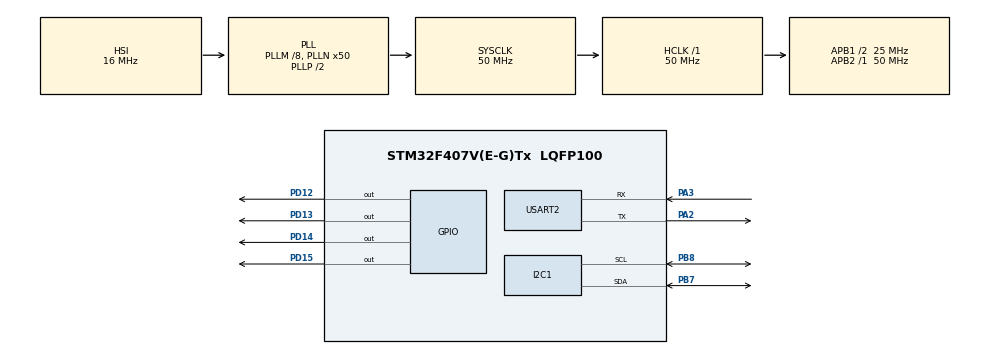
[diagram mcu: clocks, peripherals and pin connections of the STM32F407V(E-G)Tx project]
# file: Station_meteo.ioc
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I2C1.I2C_Mode=I2C_Standard
Mcu.Family=STM32F4
Mcu.Name=STM32F407V(E-G)Tx
Mcu.Package=LQFP100
NVIC.I2C1_ER_IRQn=true\:0\:0\:false\:false\:true\:true\:true
NVIC.I2C1_EV_IRQn=true\:0\:0\:false\:false\:true\:true\:true
NVIC.PriorityGroup=NVIC_PRIORITYGROUP_4
NVIC.TIM3_IRQn=true\:0\:0\:false\:false\:true\:true\:true
PA2.Mode=Asynchronous
PA2.Signal=USART2_TX
PA3.Mode=Asynchronous
PA3.Signal=USART2_RX
PB7.Mode=I2C
PB7.Signal=I2C1_SDA
PB8.Mode=I2C
PB8.Signal=I2C1_SCL
PC14-OSC32_IN.Mode=LSE-External-Oscillator
PC14-OSC32_IN.Signal=RCC_OSC32_IN
PC15-OSC32_OUT.Mode=LSE-External-Oscillator
PC15-OSC32_OUT.Signal=RCC_OSC32_OUT
PD12.Signal=GPIO_Output
PD13.Signal=GPIO_Output
PD14.Signal=GPIO_Output
PD15.Signal=GPIO_Output
PH0-OSC_IN.Mode=HSE-External-Oscillator
PH0-OSC_IN.Signal=RCC_OSC_IN
PH1-OSC_OUT.Mode=HSE-External-Oscillator
PH1-OSC_OUT.Signal=RCC_OSC_OUT
ProjectManager.HeapSize=0x200
ProjectManager.StackSize=0x400
ProjectManager.TargetToolchain=MDK-ARM V5
RCC.48MHZClocksFreq_Value=25000000
RCC.AHBFreq_Value=50000000
RCC.APB1CLKDivider=RCC_HCLK_DIV2
RCC.APB1Freq_Value=25000000
RCC.APB1TimFreq_Value=50000000
RCC.APB2Freq_Value=50000000
RCC.APB2TimFreq_Value=50000000
RCC.CortexFreq_Value=50000000
RCC.HCLKFreq_Value=50000000
RCC.HSE_VALUE=25000000
RCC.HSI_VALUE=16000000
RCC.PLLM=8
RCC.PLLN=50
RCC.SYSCLKFreq_VALUE=50000000
RCC.SYSCLKSource=RCC_SYSCLKSOURCE_PLLCLK
RCC.VCOOutputFreq_Value=100000000
TIM3.Period=64000
TIM3.Prescaler=390
USART2.VirtualMode=VM_ASYNC
VP_TIM3_VS_ClockSourceINT.Mode=Internal
board=custom

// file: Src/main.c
/* USER CODE BEGIN Header */
/**
  ******************************************************************************
  * @file           : main.c
  * @brief          : Main program body
  ******************************************************************************
  * @attention
  *
  * <h2><center>&copy; Copyright (c) 2020 STMicroelectronics.
  * All rights reserved.</center></h2>
  *
  * This software component is licensed by ST under BSD 3-Clause license,
  * the "License"; You may not use this file except in compliance with the
  * License. You may obtain a copy of the License at:
  *                        opensource.org/licenses/BSD-3-Clause
  *
  ******************************************************************************
  */
/* USER CODE END Header */

#include "main.h"
#include "i2c.h"
#include "tim.h"
#include "usart.h"
#include "gpio.h"

/* USER CODE BEGIN Includes */
#include "bme280.h"
#include <stdlib.h>
#include <string.h>
#include <stdio.h>
/* USER CODE END Includes */

/* USER CODE BEGIN PV */
uint8_t bufferDataReceiver;
/* USER CODE END PV */

void SystemClock_Config(void);
/* USER CODE BEGIN PFP */
void readId(void);
int8_t user_i2c_read(uint8_t dev_id, uint8_t reg_addr, uint8_t *reg_data, uint16_t len);
int8_t user_i2c_write(uint8_t dev_id, uint8_t reg_addr, uint8_t *reg_data, uint16_t len);
void user_delay_ms( uint32_t period );
int8_t stream_sensor_data_normal_mode(struct bme280_dev *dev);

/* USER CODE END PFP */

/* USER CODE BEGIN 0 */
 void HAL_TIM_PeriodElapsedCallback(TIM_HandleTypeDef *htim)
 {
	readId();
	HAL_TIM_Base_Start_IT( &htim3);
 }

 void HAL_I2C_MasterRxCpltCallback(I2C_HandleTypeDef *hi2c)
 {
	HAL_UART_Transmit( &huart2, (uint8_t *)"t_es_la?", 8, 10);
	HAL_UART_Transmit( &huart2, &bufferDataReceiver, 1, 10);

 }
/* USER CODE END 0 */

int main(void)
{
  /* USER CODE BEGIN 1 */
	struct bme280_dev dev;
	int8_t rslt = BME280_OK;

  /* USER CODE END 1 */

  /* MCU Configuration--------------------------------------------------------*/

  /* Reset of all peripherals, Initializes the Flash interface and the Systick. */
  HAL_Init();

  /* Configure the system clock */
  SystemClock_Config();

  /* Initialize all configured peripherals */
  MX_GPIO_Init();
  MX_I2C1_Init();
  MX_TIM3_Init();
  MX_USART2_UART_Init();
  /* USER CODE BEGIN 2 */
	HAL_TIM_Base_Start_IT( &htim3 );
	dev.dev_id = (0x76 << 1);
	dev.intf = BME280_I2C_INTF;
	dev.read = user_i2c_read;
	dev.write = user_i2c_write;
	dev.delay_ms = user_delay_ms;

	rslt = bme280_init(&dev);

	HAL_UART_Transmit( &huart2, (uint8_t *)"CeciEstUnTest", 13, 1000);
	stream_sensor_data_normal_mode( &dev );

  /* USER CODE END 2 */

  /* Infinite loop */
  while (1)
  {

  }
}

void SystemClock_Config(void)
{
  RCC_OscInitTypeDef RCC_OscInitStruct = {0};
  RCC_ClkInitTypeDef RCC_ClkInitStruct = {0};

  /** Configure the main internal regulator output voltage
  */
  __HAL_RCC_PWR_CLK_ENABLE();
  __HAL_PWR_VOLTAGESCALING_CONFIG(PWR_REGULATOR_VOLTAGE_SCALE1);
  /** Initializes the CPU, AHB and APB busses clocks
  */
  RCC_OscInitStruct.OscillatorType = RCC_OSCILLATORTYPE_HSI;
  RCC_OscInitStruct.HSIState = RCC_HSI_ON;
  RCC_OscInitStruct.HSICalibrationValue = RCC_HSICALIBRATION_DEFAULT;
  RCC_OscInitStruct.PLL.PLLState = RCC_PLL_ON;
  RCC_OscInitStruct.PLL.PLLSource = RCC_PLLSOURCE_HSI;
  RCC_OscInitStruct.PLL.PLLM = 8;
  RCC_OscInitStruct.PLL.PLLN = 50;
  RCC_OscInitStruct.PLL.PLLP = RCC_PLLP_DIV2;
  RCC_OscInitStruct.PLL.PLLQ = 4;
  if (HAL_RCC_OscConfig(&RCC_OscInitStruct) != HAL_OK)
  {
    Error_Handler();
  }
  /** Initializes the CPU, AHB and APB busses clocks
  */
  RCC_ClkInitStruct.ClockType = RCC_CLOCKTYPE_HCLK|RCC_CLOCKTYPE_SYSCLK
                              |RCC_CLOCKTYPE_PCLK1|RCC_CLOCKTYPE_PCLK2;
  RCC_ClkInitStruct.SYSCLKSource = RCC_SYSCLKSOURCE_PLLCLK;
  RCC_ClkInitStruct.AHBCLKDivider = RCC_SYSCLK_DIV1;
  RCC_ClkInitStruct.APB1CLKDivider = RCC_HCLK_DIV2;
  RCC_ClkInitStruct.APB2CLKDivider = RCC_HCLK_DIV1;

  if (HAL_RCC_ClockConfig(&RCC_ClkInitStruct, FLASH_LATENCY_1) != HAL_OK)
  {
    Error_Handler();
  }
}

/* USER CODE BEGIN 4 */

int8_t stream_sensor_data_normal_mode(struct bme280_dev *dev)
{
	int8_t rslt;
	uint8_t settings_sel;
	struct bme280_data comp_data;

	/* Recommended mode of operation: Indoor navigation */
	dev->settings.osr_h = BME280_OVERSAMPLING_1X;
	dev->settings.osr_p = BME280_OVERSAMPLING_16X;
	dev->settings.osr_t = BME280_OVERSAMPLING_2X;
	dev->settings.filter = BME280_FILTER_COEFF_16;
	dev->settings.standby_time = BME280_STANDBY_TIME_62_5_MS;

	settings_sel = BME280_OSR_PRESS_SEL;
	settings_sel |= BME280_OSR_TEMP_SEL;
	settings_sel |= BME280_OSR_HUM_SEL;
	settings_sel |= BME280_STANDBY_SEL;
	settings_sel |= BME280_FILTER_SEL;
	rslt = bme280_set_sensor_settings(settings_sel, dev);
	rslt = bme280_set_sensor_mode(BME280_NORMAL_MODE, dev);

	while (1) {
		/* Delay while the sensor completes a measurement */
		dev->delay_ms(70);
		rslt = bme280_get_sensor_data(BME280_ALL, &comp_data, dev);

	}

	return rslt;
}

void readId()
{
	uint8_t bufferMessageSent = 0xD0;
	HAL_I2C_Master_Transmit( &hi2c1, 0x76 << 1, &bufferMessageSent, 1, 10);
	HAL_I2C_Master_Receive( &hi2c1, 0x76 << 1, &bufferDataReceiver, 1, 10);
	HAL_UART_Transmit( &huart2, &bufferDataReceiver, 1, 10);

}
void user_delay_ms(uint32_t period)
{
	HAL_Delay(period);
}

int8_t user_i2c_read(uint8_t dev_id, uint8_t reg_addr, uint8_t *reg_data, uint16_t len)
{
	char ret = 1;
	HAL_StatusTypeDef retHAL;
	ret = HAL_I2C_Master_Transmit( &hi2c1, dev_id, &reg_addr, 1, 10);
	if(retHAL == HAL_OK)
	{
		retHAL = HAL_I2C_Master_Receive( &hi2c1, dev_id, reg_data, len, 10);
	}
  if(retHAL == HAL_OK)
	{
		ret = BME280_OK;
	}
  return ret;
}

int8_t user_i2c_write(uint8_t dev_id, uint8_t reg_addr, uint8_t *reg_data, uint16_t len)
{

	HAL_StatusTypeDef retHAL;
	char ret = 1;
	uint8_t* buffer = malloc(len + 1);

	buffer[0] = reg_addr;
	memcpy( buffer + 1, reg_data, len);
	retHAL = HAL_I2C_Master_Transmit( &hi2c1, dev_id, buffer, len + 1, 10);
  if(retHAL == HAL_OK)
	{
		ret = BME280_OK;
	}
	free(buffer);
	return ret;
}

/* USER CODE END 4 */

void Error_Handler(void)
{
}

/************************ (C) COPYRIGHT STMicroelectronics *****END OF FILE****/
